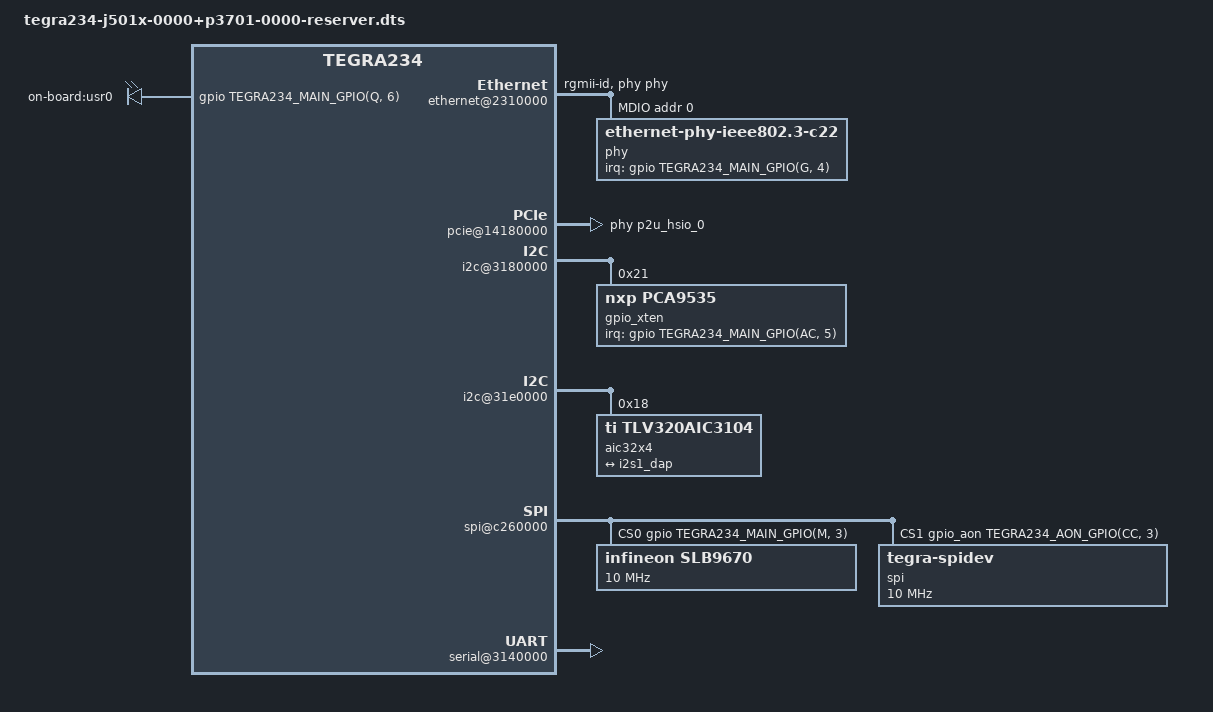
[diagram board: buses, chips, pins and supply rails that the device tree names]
// SPDX-License-Identifier: GPL-2.0-only
// SPDX-FileCopyrightText: Copyright (c) 2023, NVIDIA CORPORATION & AFFILIATES.  All rights reserved.

/dts-v1/;

#include "tegra234-j501x-0000+p3701-0000.dts"
#include "tegra234-p3737-0000+p3701-xxxx-nv-common.dtsi"
#include "tegra234-p3701-0000.dtsi"
#include "tegra234-dcb-j501x-0000-p3701-0000.dtsi"

#include <dt-bindings/net/ti-dp83867.h>
/ {
	aliases {
		serial4 = "/bus@0/serial@3140000";
	};

	leds {
		status = "okay";
		compatible = "gpio-leds";

		led {
			label = "on-board:usr0";
			gpios = <&gpio TEGRA234_MAIN_GPIO(Q, 6) GPIO_ACTIVE_HIGH>;
			linux,default-trigger = "cpu0";
			default-state = "off";
		};
	};


	sound {
		nvidia-audio-card,widgets =
				"Headphone", "tlv Headphone Jack",
				"Line", "tlv Line In";
		nvidia-audio-card,routing =
				"tlv Headphone Jack",       "tlv HPLOUT",
				"tlv Headphone Jack",       "tlv HPROUT",
				"tlv LINE1L",               "tlv Line In",
				"tlv LINE1R",               "tlv Line In";
		nvidia-audio-card,mclk-fs = <256>;

		nvidia-audio-card,dai-link@76 {
			status = "okay";

			format = "i2s";
			link-type = <C2C_LINK>;
			link-name = "ti-capture";
			bitclock-master;
			frame-master;
			i2s1_cpu: cpu {
				sound-dai = <&tegra_i2s1 I2S_DAP>;
			};
			codec {
					sound-dai = <&aic32x4 0>;
					prefix = "tlv";
			};
		};
	};

	bus@0 {

		aconnect@2900000 {
			ahub@2900800 {
				i2s@2901000 {
					ports {
						port@1 {
							endpoint {
								dai-format = "i2s";
								bitclock-master;
								frame-master;
								remote-endpoint = <&aic32x4_ep>;
							};
						};
					};
				};
			};
		};

		//Gigabit Ethernet
		ethernet@2310000 {
			status = "okay";
			nvidia,mac-addr-idx = <1>;
			nvidia,max-platform-mtu = <8000>;
			nvidia,pause_frames = <0>;
			nvidia,phy-reset-gpio = <&gpio TEGRA234_MAIN_GPIO(G, 5) 0>;
			phy-handle = <&phy>;
			phy-mode = "rgmii-id";		
		
			mdio {
				compatible = "nvidia,eqos-mdio";
				#address-cells = <1>;
				#size-cells = <0>;
				phy: phy@0 {
					reg = <0>;
					compatible = "ethernet-phy-ieee802.3-c22";
					tx-fifo-depth = <DP83867_PHYCR_FIFO_DEPTH_4_B_NIB>;
					rx-fifo-depth = <DP83867_PHYCR_FIFO_DEPTH_4_B_NIB>;
					ti,max-output-impedance;
				//	ti,clk-output-sel = <DP83867_CLK_O_SEL_CHN_A_RCLK>;
					ti,rx-internal-delay = <DP83867_RGMIIDCTL_2_75_NS>;
					ti,tx-internal-delay = <DP83867_RGMIIDCTL_2_75_NS>;
					interrupt-parent = <&gpio>;
					interrupts = <TEGRA234_MAIN_GPIO(G, 4) IRQ_TYPE_LEVEL_LOW>; //<TODO> Need to check
				};			
			};
		};
		
		pcie@14180000 {
					status = "okay";
					phys = <&p2u_hsio_0>;
					phy-names = "p2u-0";
		};

		i2c@3180000 {
			status = "okay";
			gpio_xten: gpio_xten@21 {
				compatible = "nxp,pca9535";
				reg = <0x21>;
				gpio-controller;
				#gpio-cells = <2>;

				interrupt-controller;
				#interrupt-cells=<2>;

				interrupt-parent = <&gpio>;
				interrupts = <TEGRA234_MAIN_GPIO(AC, 5) IRQ_TYPE_EDGE_FALLING>;

				gpio-line-names =
						"M2B_DPR"			,"M2B_P_OFF_N",
						"M2B_W_DIS2_N"		,"PCIe_WAKE",
						"SIM_MUC_SEL"		,"PCIe_SX1261_RST_N",
						"M2B_W_DIS1_N"		,"M2B_PCIe_RST_N",
						"CAN1_120R_EN"		,"CAN0_120R_EN",
						"TPM_RST"			,"TPM_IRQ",
						"CODEC_RST_N"		,"USB_HUB_RST_N",
						"CAM_VDD_SYS_EN"		,"UART2_EN";

				gpio-line-offsets = <0>, <1>, <2>, <3>, <4>, <5>, <6>, <7>, <8>, <9>, <10>, <11>, <12>, <13>, <14>, <15>;

				CAM_VDD_SYS_EN {
					gpios = <&gpio_xten 14 GPIO_ACTIVE_HIGH>;
					output-high;
					line-name = "CAM_VDD_SYS_EN";
				};
			};
		};


		i2c@31e0000 {
			status = "okay";

			aic32x4: tlv320aic3104.1-001b@18 {
				compatible = "ti,tlv320aic3104";
				status = "okay";
				reg = <0x18>;
				clocks = <&bpmp TEGRA234_CLK_AUD_MCLK>;
				//clocks = <&tegra_car TEGRA186_CLK_AUD_MCLK>; 
				clock-names = "mclk";
				sound-name-prefix = "tlv";
				#sound-dai-cells = <1>;
	
				port {
					aic32x4_ep: endpoint {
						remote-endpoint = <&i2s1_dap>;
						mclk-fs = <256>;
					};
				};
			};
		};


		spi@c260000 {
			status = "okay";
			cs-gpios = <&gpio TEGRA234_MAIN_GPIO(M, 3) GPIO_ACTIVE_HIGH>,
						<&gpio_aon TEGRA234_AON_GPIO(CC, 3) GPIO_ACTIVE_HIGH>;
			num-cs = <2>;

			slb9670@0 {
				compatible = "infineon,slb9670";
				status = "okay";
				reg = <0x0>;
				spi-max-frequency = <10000000>;
				controller-data {
					nvidia,cs-setup-clk-count = <0x1e>;
					nvidia,cs-hold-clk-count = <0x1e>;
					nvidia,rx-clk-tap-delay = <0x7>;
					nvidia,tx-clk-tap-delay = <0x0>;
					nvidia,cs-inactive-cycles = <0x6>;
				};
			};
			spi@1 { /* chips select 1 */
				compatible = "tegra-spidev";
				reg = <0x1>;
				status = "okay";
				spi-max-frequency = <10000000>;
			};
		};

		//CAN0
		mttcan@c310000 {
			status = "okay";
		};

		//CAN1
		mttcan@c320000 {
			status = "okay";
		};

		pinmux@2430000 {
			pinctrl-names = "default";
			pinctrl-0 = <&jetson_io_pinmux>;
			jetson_io_pinmux: exp-header-pinmux {
				uart5_tx_py5 {
						nvidia,pins = "uart5_tx_py5";
						nvidia,function = "uarte";
						nvidia,pull = <TEGRA_PIN_PULL_NONE>;
						nvidia,tristate = <TEGRA_PIN_DISABLE>;
						nvidia,enable-input = <TEGRA_PIN_DISABLE>;
						nvidia,lpdr = <TEGRA_PIN_DISABLE>;
				};

				uart5_rx_py6 {
						nvidia,pins = "uart5_rx_py6";
						nvidia,function = "uarte";
						nvidia,pull = <TEGRA_PIN_PULL_NONE>;
						nvidia,tristate = <TEGRA_PIN_ENABLE>;
						nvidia,enable-input = <TEGRA_PIN_ENABLE>;
						nvidia,lpdr = <TEGRA_PIN_DISABLE>;
				};

				uart5_rts_py7 {
						nvidia,pins = "uart5_rts_py7";
						nvidia,function = "uarte";
						nvidia,pull = <TEGRA_PIN_PULL_UP>;
						nvidia,tristate = <TEGRA_PIN_DISABLE>;
						nvidia,enable-input = <TEGRA_PIN_DISABLE>;
						nvidia,lpdr = <TEGRA_PIN_DISABLE>;
				};

				uart5_cts_pz0 {
						nvidia,pins = "uart5_cts_pz0";
						nvidia,function = "uarte";
						nvidia,pull = <TEGRA_PIN_PULL_NONE>;
						nvidia,tristate = <TEGRA_PIN_ENABLE>;
						nvidia,enable-input = <TEGRA_PIN_ENABLE>;
						nvidia,lpdr = <TEGRA_PIN_DISABLE>;
				};
			};
		};

		/// ttyTHS4
		serial@3140000 {
			compatible = "nvidia,tegra194-hsuart";
			reset-names = "serial";
			status = "okay";
		};

		//ttyTHS0 for M.2 KEY-B (4G/5G)
		//no need config
	};
};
